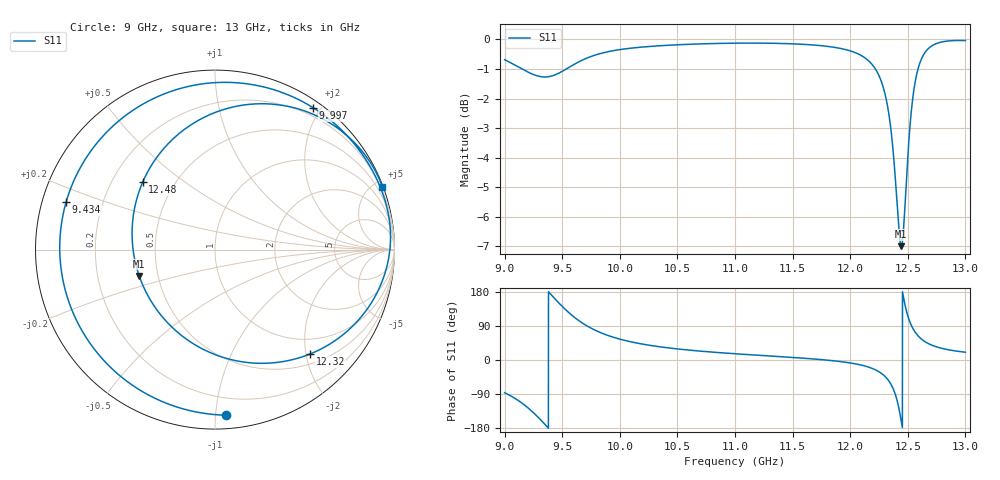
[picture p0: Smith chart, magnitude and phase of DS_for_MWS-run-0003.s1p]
! TOUCHSTONE file generated by CST DESIGN STUDIO
! Date and time: Wed Feb  5 13:21:45 2025
! Project name: C:\Work\MatlabApps\UnitCellOptimizationMatlab\CST\unitcell.cst
! Tree item: Tasks\Sweep1\SPara1\S-Parameters
! Header version: 2024
! Port assignment regex: !\s*Touchstone port\s*([0-9]+)\s*=\s*(CST MWS port|CST DES external port|CST DES block port)\s*(.+)\s* \(\"(.*)\"\)(\s*mode\s*([0-9]+))?.*
! Touchstone port assignment:
! Touchstone port 1 = CST DES external port 1 ("")
# GHz S MA R 50
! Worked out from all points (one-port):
!   4001 points, 9 GHz to 13 GHz, reference 50 ohm
!   lowest |S11| = -7.0 dB at 12.44 GHz (marker M1), VSWR 2.62, Z = 19.6 - j7.18 ohm
!   |S11| at or under -10 dB: nowhere
!   S11 on the Smith chart (normalised r, x): 9 GHz: 0.08, -1.06; 9.434 GHz: 0.07, +0.15; 9.997 GHz: 0.09, +1.90; 12.32 GHz: 0.68, -2.08; 12.48 GHz: 0.33, +0.36; 13 GHz: 0.06, +5.52
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9  0.9245 -86.3
9.118  0.8988 -106.8
9.216  0.8782 -129.7
9.335  0.8643 -165.0
9.434  0.8708 162.3
9.5  0.8834 141.5
9.589  0.9043 116.8
9.686  0.925 95.4
9.833  0.947 72.2
9.997  0.9612 55.3
10  0.9614 55.1
10.5  0.9796 29.2
11  0.9858 16.5
11.5  0.9833 6.7
12  0.9567 -7.7
12.203  0.9007 -23.7
12.316  0.7866 -47.7
12.389  0.5917 -88.3
12.416  0.4964 -118.0
12.443  0.4471 -160.8
12.482  0.551 137.0
12.5  0.6331 116.5
12.527  0.7435 93.9
12.558  0.8342 76.2
12.607  0.9153 58.2
12.665  0.9593 45.5
12.791  0.9901 31.1
13  0.996 20.5
